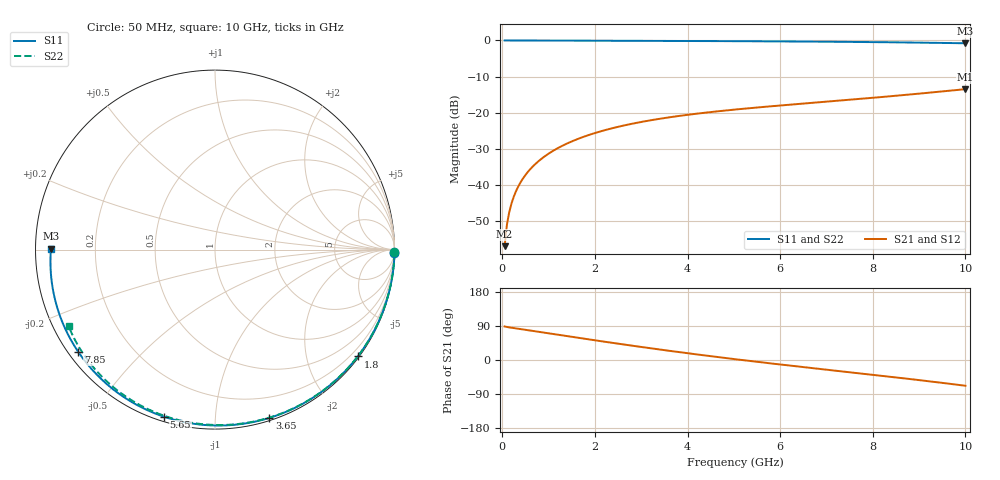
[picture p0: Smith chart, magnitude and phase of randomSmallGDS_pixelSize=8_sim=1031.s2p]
! freq	dB(S11)	phase(S11)	dB(S12)	phase(S12)
!  dB(S21)	phase(S21)	dB(S22)	phase(S22)
!S-par simulation data
#  GHz  S  DB  R 50
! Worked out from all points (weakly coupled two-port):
!   200 points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, 50 MHz to 10 GHz, reference 50 ohm
!   highest |S21| = -13.47 dB at 10 GHz (marker M1); lowest = -56.9 dB at 50 MHz (marker M2)
!   lowest |S11| = -0.8 dB at 10 GHz (marker M3), VSWR 22.23, Z = 2.25 + j0.117 ohm
!   |S11| at or under -10 dB: nowhere
!   |S22| runs from -0.7 to 0.0 dB; largest |S21 - S12| = 0
!   S11 on the Smith chart (normalised r, x): 50 MHz: open; 1.8 GHz: 0.03, -3.01; 3.65 GHz: 0.02, -1.37; 5.65 GHz: 0.02, -0.74; 7.85 GHz: 0.03, -0.33; 10 GHz: 0.04, +0.00
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0.05  -0.00 -1.0  -56.94 88.4  -56.94 88.4  -0.00 -0.9
0.1  -0.00 -2.1  -50.98 87.1  -50.98 87.1  -0.00 -1.8
0.15  -0.00 -3.1  -47.52 86.0  -47.52 86.0  -0.00 -2.7
0.2  -0.00 -4.2  -45.07 85.1  -45.07 85.1  -0.00 -3.6
0.35  -0.01 -7.3  -40.29 82.4  -40.29 82.4  -0.01 -6.3
0.5  -0.01 -10.4  -37.24 79.7  -37.24 79.7  -0.01 -8.9
0.7  -0.02 -14.5  -34.36 76.0  -34.36 76.0  -0.02 -12.5
1  -0.03 -20.7  -31.33 70.4  -31.33 70.4  -0.02 -17.7
1.35  -0.04 -27.8  -28.81 63.9  -28.81 63.9  -0.04 -23.8
1.75  -0.05 -35.8  -26.69 56.6  -26.69 56.6  -0.05 -30.7
1.8  -0.06 -36.8  -26.46 55.6  -26.46 55.6  -0.05 -31.6
2.6  -0.09 -52.4  -23.61 41.3  -23.61 41.3  -0.08 -45.1
3.4  -0.12 -67.5  -21.68 27.7  -21.68 27.7  -0.11 -58.2
3.65  -0.13 -72.1  -21.19 23.6  -21.19 23.6  -0.12 -62.2
4.35  -0.16 -84.7  -20.04 12.4  -20.04 12.4  -0.14 -73.1
5.05  -0.20 -96.9  -19.09 1.8  -19.09 1.8  -0.18 -83.7
5.65  -0.23 -107.0  -18.39 -6.9  -18.39 -6.9  -0.21 -92.5
6.7  -0.31 -124.4  -17.26 -21.5  -17.26 -21.5  -0.28 -107.4
7.85  -0.43 -143.2  -16.04 -37.0  -16.04 -37.0  -0.39 -123.2
8.35  -0.50 -151.5  -15.48 -43.9  -15.48 -43.9  -0.45 -130.0
9.2  -0.63 -165.9  -14.48 -55.9  -14.48 -55.9  -0.57 -141.5
10  -0.78 179.7  -13.47 -68.0  -13.47 -68.0  -0.72 -152.4
